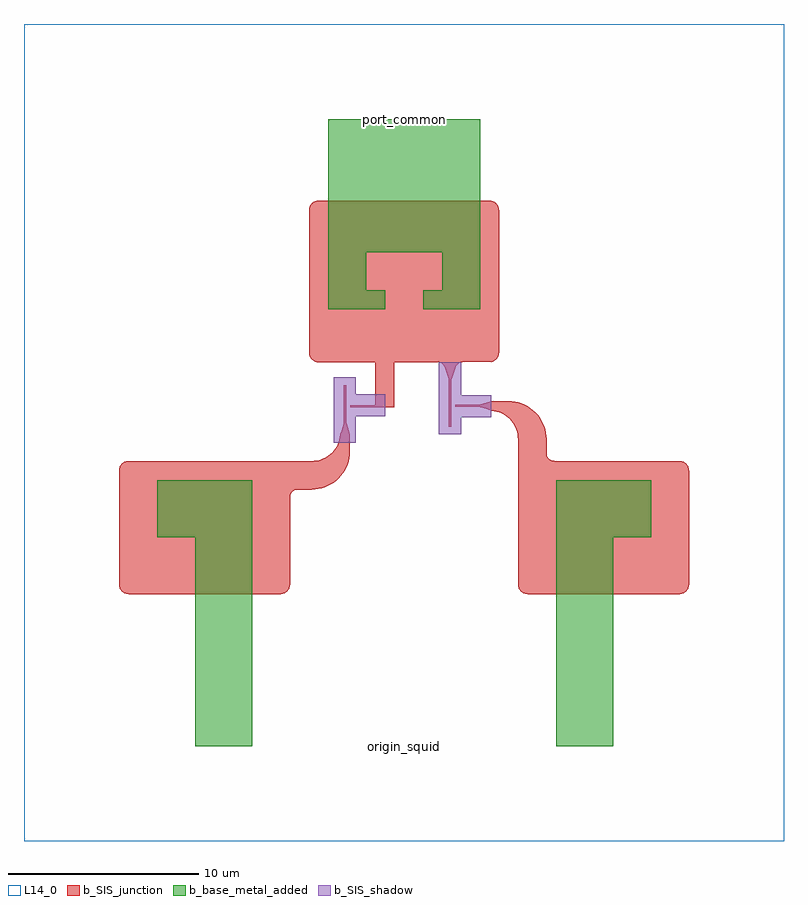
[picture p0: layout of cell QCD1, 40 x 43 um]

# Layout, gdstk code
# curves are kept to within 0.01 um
import gdstk
lib = gdstk.Library(unit=1e-6, precision=1e-09)
def R(c, l, rs):  # rectangles x0, y0, x1, y1
    for r in rs: c.add(gdstk.rectangle(r[:2], r[2:], *l))
def P(c, l, *ps):  # polygons
    for p in ps: c.add(gdstk.Polygon(p, *l))
b_base_metal_added = (12, 0)
L14_0 = (14, 0)
b_SIS_junction = (17, 2)
b_SIS_shadow = (18, 2)

qcd1 = lib.new_cell('QCD1')
P(qcd1, b_base_metal_added, [(-4,23),(-4,33),(4,33),(4,23),(1,23),(1,24),(2,24),(2,26),(-2,26),(-2,24),(-1,24),(-1,23)],
  [(-11,0),(-11,11),(-13,11),(-13,14),(-8,14),(-8,0)],
  [(8,0),(8,14),(13,14),(13,11),(11,11),(11,0)])
R(qcd1, L14_0, [(-20,-5,20,38)])
P(qcd1, b_SIS_junction, [(2.365,16.8),(2.365,19.273),(2.138,19.964),(2.058,20.078),(1.944,20.158),(1.775,20.2),(-0.52,20.2),(-0.52,17.84),(-2.825,17.84),(-2.825,17.94),(-1.52,17.94),(-1.52,20.2),(-4.544,20.202),(-4.671,20.23),(-4.787,20.29),(-4.854,20.346),(-4.933,20.45),(-4.983,20.571),(-5,20.7),(-5,28.2),(-4.983,28.329),(-4.933,28.45),(-4.854,28.554),(-4.75,28.633),(-4.629,28.683),(-4.5,28.7),(4.5,28.7),(4.629,28.683),(4.75,28.633),(4.854,28.554),(4.933,28.45),(4.983,28.329),(5,28.2),(5,20.7),(4.983,20.571),(4.933,20.45),(4.854,20.346),(4.75,20.267),(4.629,20.217),(4.5,20.2),(3.075,20.2),(2.906,20.158),(2.818,20.101),(2.747,20.024),(2.711,19.963),(2.485,19.281),(2.485,16.8)],
  [(-14.5,8),(-14.671,8.03),(-14.787,8.09),(-14.854,8.146),(-14.953,8.289),(-14.998,8.456),(-15,14.5),(-14.97,14.671),(-14.91,14.787),(-14.854,14.854),(-14.787,14.91),(-14.671,14.97),(-14.5,15),(-4.85,15),(-4.59,15.023),(-4.337,15.09),(-4.1,15.201),(-3.99,15.271),(-3.789,15.439),(-3.621,15.64),(-3.551,15.75),(-3.44,15.987),(-3.373,16.24),(-3.355,16.4),(-3.16,17),(-3.16,19),(-3.04,19),(-3.04,17),(-2.85,16.4),(-2.85,15.4),(-2.88,15.153),(-2.918,14.982),(-3.037,14.655),(-3.212,14.353),(-3.436,14.086),(-3.703,13.862),(-4.005,13.687),(-4.332,13.568),(-4.676,13.508),(-5.595,13.5),(-5.699,13.486),(-5.795,13.446),(-5.878,13.383),(-5.941,13.3),(-5.981,13.204),(-6,13.1),(-6,8.5),(-6.03,8.329),(-6.09,8.213),(-6.146,8.146),(-6.213,8.09),(-6.329,8.03),(-6.5,8)],
  [(6.5,8),(6.329,8.03),(6.213,8.09),(6.146,8.146),(6.047,8.289),(6.002,8.456),(6,16.15),(5.977,16.41),(5.91,16.663),(5.799,16.9),(5.729,17.01),(5.561,17.211),(5.36,17.379),(5.25,17.449),(5.013,17.56),(4.76,17.627),(4.6,17.645),(4.015,17.834),(3.89,17.85),(2.7,17.85),(2.7,17.95),(3.89,17.95),(4.012,17.967),(4.6,18.15),(5.6,18.15),(5.847,18.12),(6.018,18.082),(6.345,17.963),(6.5,17.882),(6.786,17.682),(7.032,17.436),(7.232,17.15),(7.313,16.995),(7.432,16.668),(7.492,16.324),(7.5,15.405),(7.514,15.301),(7.554,15.205),(7.617,15.122),(7.7,15.059),(7.796,15.019),(7.9,15),(14.5,15),(14.629,14.983),(14.711,14.953),(14.787,14.91),(14.883,14.821),(14.97,14.671),(15,14.5),(15,8.5),(14.983,8.371),(14.953,8.289),(14.91,8.213),(14.821,8.117),(14.671,8.03),(14.5,8)])
P(qcd1, b_SIS_shadow, [(-3.7,15.95),(-3.7,19.4),(-2.54,19.4),(-2.54,18.51),(-1,18.51),(-1,17.35),(-2.54,17.35),(-2.54,15.95)],
  [(1.84,16.4),(1.84,20.2),(3,20.2),(3,18.47),(4.6,18.47),(4.6,17.31),(3,17.31),(3,16.4)])
qcd1.add(gdstk.Label('port_common', (0,33), layer=225, texttype=0))
qcd1.add(gdstk.Label('origin_squid', (0,0), layer=225, texttype=0))

lib.write_gds('QCD1.gds')
